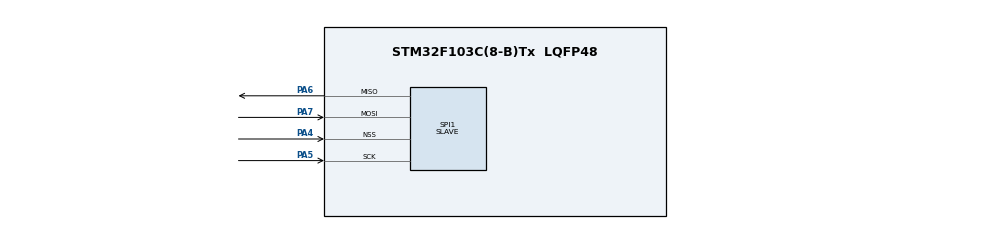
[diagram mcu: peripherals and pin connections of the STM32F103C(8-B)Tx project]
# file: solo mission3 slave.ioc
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Mcu.Family=STM32F1
Mcu.Name=STM32F103C(8-B)Tx
Mcu.Package=LQFP48
NVIC.PriorityGroup=NVIC_PRIORITYGROUP_4
PA4.Mode=NSS_Signal_Hard_Input
PA4.Signal=SPI1_NSS
PA5.Mode=Full_Duplex_Slave
PA5.Signal=SPI1_SCK
PA6.Mode=Full_Duplex_Slave
PA6.Signal=SPI1_MISO
PA7.Mode=Full_Duplex_Slave
PA7.Signal=SPI1_MOSI
ProjectManager.HeapSize=0x200
ProjectManager.StackSize=0x400
ProjectManager.TargetToolchain=STM32CubeIDE
RCC.APB1Freq_Value=8000000
RCC.APB2Freq_Value=8000000
SPI1.Direction=SPI_DIRECTION_2LINES
SPI1.Mode=SPI_MODE_SLAVE
SPI1.VirtualNSS=VM_NSSHARD
SPI1.VirtualType=VM_SLAVE
VP_SYS_VS_ND.Mode=No_Debug
board=custom

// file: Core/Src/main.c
/* USER CODE BEGIN Header */
/**
  ******************************************************************************
  * @file           : main.c
  * @brief          : Main program body
  ******************************************************************************
  * @attention
  *
  * Copyright (c) 2026 STMicroelectronics.
  * All rights reserved.
  *
  * This software is licensed under terms that can be found in the LICENSE file
  * in the root directory of this software component.
  * If no LICENSE file comes with this software, it is provided AS-IS.
  *
  ******************************************************************************
  */
/* USER CODE END Header */
#include "main.h"

SPI_HandleTypeDef hspi1;

void SystemClock_Config(void);
static void MX_GPIO_Init(void);
static void MX_SPI1_Init(void);

/* USER CODE BEGIN 0 */
typedef struct
{
    uint16_t id;
    uint16_t volt;
    uint16_t speed;
} CaseData;

CaseData cases[5] =
{
    {0x1001, 123, 200},
    {0x1002, 142, 150},
    {0x1003, 138, 100},
    {0x1004, 115, 220},
    {0x1005, 109, 280},
};

uint8_t tx[3] = {0};
uint8_t rx[3] = {0};
uint16_t currentId = 0;
/* USER CODE END 0 */

int main(void)
{

  /* MCU Configuration--------------------------------------------------------*/

  /* Reset of all peripherals, Initializes the Flash interface and the Systick. */
  HAL_Init();

  /* Configure the system clock */
  SystemClock_Config();

  /* Initialize all configured peripherals */
  MX_GPIO_Init();
  MX_SPI1_Init();

  /* Infinite loop */
  /* USER CODE BEGIN WHILE */

  while (1)
  {
      HAL_SPI_Receive(&hspi1, rx, 3, HAL_MAX_DELAY);

      currentId = ((uint16_t)rx[0] << 8) | rx[1];

      for (int i = 0; i < 5; i++)
      {
          if (cases[i].id == currentId)
          {
              uint32_t message =
                  ((uint32_t)cases[i].volt << 12) |
                  cases[i].speed;

              tx[0] = (message >> 16) & 0xFF;
              tx[1] = (message >> 8) & 0xFF;
              tx[2] = message & 0xFF;

              break;
          }
      }

      HAL_SPI_Transmit(&hspi1, tx, 3, HAL_MAX_DELAY);
  }
  }

void SystemClock_Config(void)
{
  RCC_OscInitTypeDef RCC_OscInitStruct = {0};
  RCC_ClkInitTypeDef RCC_ClkInitStruct = {0};

  /** Initializes the RCC Oscillators according to the specified parameters
  * in the RCC_OscInitTypeDef structure.
  */
  RCC_OscInitStruct.OscillatorType = RCC_OSCILLATORTYPE_HSI;
  RCC_OscInitStruct.HSIState = RCC_HSI_ON;
  RCC_OscInitStruct.HSICalibrationValue = RCC_HSICALIBRATION_DEFAULT;
  RCC_OscInitStruct.PLL.PLLState = RCC_PLL_NONE;
  if (HAL_RCC_OscConfig(&RCC_OscInitStruct) != HAL_OK)
  {
    Error_Handler();
  }

  /** Initializes the CPU, AHB and APB buses clocks
  */
  RCC_ClkInitStruct.ClockType = RCC_CLOCKTYPE_HCLK|RCC_CLOCKTYPE_SYSCLK
                              |RCC_CLOCKTYPE_PCLK1|RCC_CLOCKTYPE_PCLK2;
  RCC_ClkInitStruct.SYSCLKSource = RCC_SYSCLKSOURCE_HSI;
  RCC_ClkInitStruct.AHBCLKDivider = RCC_SYSCLK_DIV1;
  RCC_ClkInitStruct.APB1CLKDivider = RCC_HCLK_DIV1;
  RCC_ClkInitStruct.APB2CLKDivider = RCC_HCLK_DIV1;

  if (HAL_RCC_ClockConfig(&RCC_ClkInitStruct, FLASH_LATENCY_0) != HAL_OK)
  {
    Error_Handler();
  }
}

static void MX_SPI1_Init(void)
{

  /* SPI1 parameter configuration*/
  hspi1.Instance = SPI1;
  hspi1.Init.Mode = SPI_MODE_SLAVE;
  hspi1.Init.Direction = SPI_DIRECTION_2LINES;
  hspi1.Init.DataSize = SPI_DATASIZE_8BIT;
  hspi1.Init.CLKPolarity = SPI_POLARITY_LOW;
  hspi1.Init.CLKPhase = SPI_PHASE_1EDGE;
  hspi1.Init.NSS = SPI_NSS_HARD_INPUT;
  hspi1.Init.FirstBit = SPI_FIRSTBIT_MSB;
  hspi1.Init.TIMode = SPI_TIMODE_DISABLE;
  hspi1.Init.CRCCalculation = SPI_CRCCALCULATION_DISABLE;
  hspi1.Init.CRCPolynomial = 10;
  if (HAL_SPI_Init(&hspi1) != HAL_OK)
  {
    Error_Handler();
  }

}

static void MX_GPIO_Init(void)
{

  /* GPIO Ports Clock Enable */
  __HAL_RCC_GPIOA_CLK_ENABLE();

}

void Error_Handler(void)
{
  __disable_irq();
  while (1)
  {
  }
}
